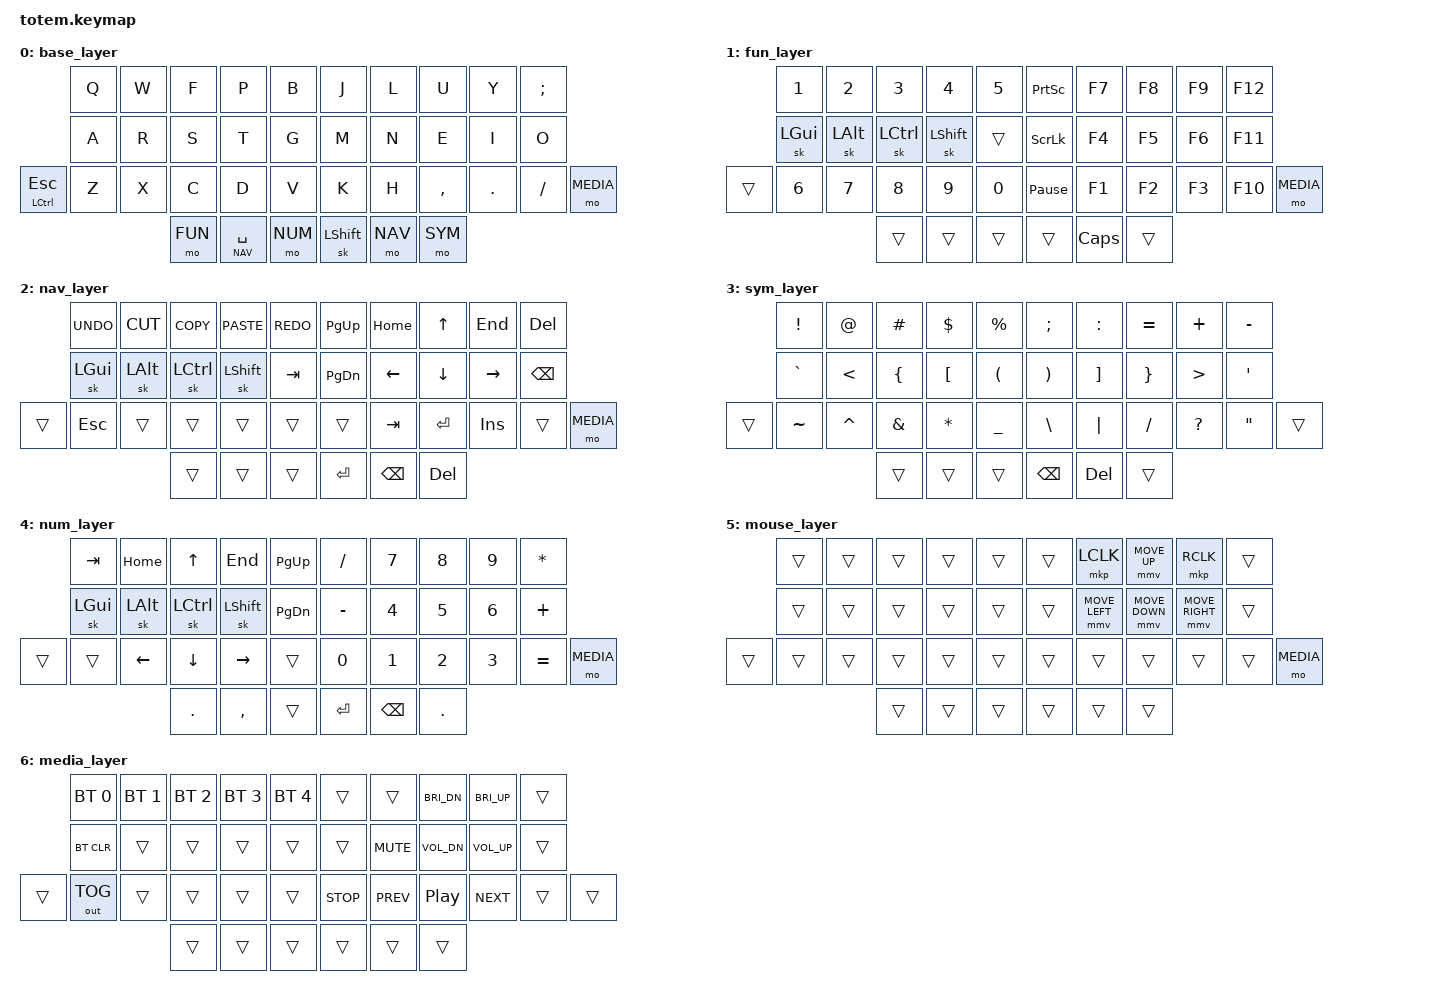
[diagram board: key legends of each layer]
/*
 * Copyright (c) 2022 The ZMK Contributors
 * SPDX-License-Identifier: MIT
 */

#include <behaviors.dtsi>
#include <dt-bindings/zmk/keys.h>
#include <dt-bindings/zmk/bt.h>
#include <dt-bindings/zmk/outputs.h>
#include <dt-bindings/zmk/mouse.h>

#define BASE  0
#define FUN   1
#define NAV   2
#define SYM   3
#define NUM   4
#define MOUSE 5
#define MEDIA 6

&mt {
    quick-tap-ms = <100>;
    global-quick-tap;
    flavor = "tap-preferred";
    tapping-term-ms = <170>;
};

/ {
    behaviors {
        // Layer-tap with quick-tap for hold-repeat (tap then hold to repeat)
        ltr: layer_tap_repeat {
            compatible = "zmk,behavior-hold-tap";
            #binding-cells = <2>;
            flavor = "tap-preferred";
            tapping-term-ms = <200>;
            quick-tap-ms = <200>;
            bindings = <&mo>, <&kp>;
        };
    };

    combos {
        compatible = "zmk,combos";
        combo_esc {
            timeout-ms = <50>;
            key-positions = <0 1>;
            bindings = <&kp ESC>;
        };
    };

    keymap {
        compatible = "zmk,keymap";

        base_layer {
// -----------------------------------------------------------------------------------------
//       |  Q  |  W  |  F  |  P  |  B  |         |  J  |  L  |  U  |  Y  |  ;  |
//       |  A  |  R  |  S  |  T  |  G  |         |  M  |  N  |  E  |  I  |  O  |
// |ESC  |  Z  |  X  |  C  |  D  |  V  |         |  K  |  H  |  ,  |  .  |  /  |MEDIA|
// |CTRL |                                                                     |     |
//                   | FUN |SPC  | NUM |         |SHIFT| NAV | SYM |
//                   |     |NAV  |     |         | (os)|     |     |
            bindings = <
            &kp Q           &kp W       &kp F       &kp P       &kp B           &kp J       &kp L       &kp U       &kp Y       &kp SEMI
            &kp A           &kp R       &kp S       &kp T       &kp G           &kp M       &kp N       &kp E       &kp I       &kp O
 &mt LCTRL ESC &kp Z        &kp X       &kp C       &kp D       &kp V           &kp K       &kp H       &kp COMMA   &kp DOT     &kp FSLH    &mo MEDIA
                                    &mo FUN     &ltr NAV SPACE &mo NUM         &sk LSHFT   &mo NAV     &mo SYM
            >;
        };

        fun_layer {
// -----------------------------------------------------------------------------------------
//       |  1  |  2  |  3  |  4  |  5  |         | PSCR|  F7 |  F8 |  F9 | F12 |
//       | GUI | ALT | CTRL| SHFT|     |         | SLCK|  F4 |  F5 |  F6 | F11 |
// |     |  6  |  7  |  8  |  9  |  0  |         | PAUS|  F1 |  F2 |  F3 | F10 |     |
//                   |     |     |     |         |     | CAPS|     |
            bindings = <
            &kp N1      &kp N2      &kp N3      &kp N4      &kp N5          &kp PSCRN   &kp F7      &kp F8      &kp F9      &kp F12
            &sk LGUI    &sk LALT    &sk LCTRL   &sk LSHFT   &trans          &kp SLCK    &kp F4      &kp F5      &kp F6      &kp F11
    &trans  &kp N6      &kp N7      &kp N8      &kp N9      &kp N0          &kp PAUSE_BREAK &kp F1  &kp F2      &kp F3      &kp F10     &mo MEDIA
                                    &trans      &trans      &trans          &trans      &kp CAPS    &trans
            >;
        };

        nav_layer {
// -----------------------------------------------------------------------------------------
//       | UNDO| CUT | COPY| PSTE| REDO|         | PGUP| HOME|  UP | END | DEL |
//       | GUI | ALT | CTRL| SHFT| TAB |         | PGDN| LEFT| DOWN| RGHT| BSPC|
// |     | ESC |     |     |     |     |         |     | TAB | ENT | INS |     |     |
//                   |     |     |     |         | ENT | BSPC| DEL |
            bindings = <
            &kp K_UNDO  &kp K_CUT   &kp K_COPY  &kp K_PASTE &kp K_REDO      &kp PG_UP   &kp HOME    &kp UP      &kp END     &kp DEL
            &sk LGUI    &sk LALT    &sk LCTRL   &sk LSHFT   &kp TAB         &kp PG_DN   &kp LEFT    &kp DOWN    &kp RIGHT   &kp BSPC
    &trans  &kp ESC     &trans      &trans      &trans      &trans          &trans      &kp TAB     &kp RET     &kp INS     &trans      &mo MEDIA
                                    &trans      &trans      &trans          &kp RET     &kp BSPC    &kp DEL
            >;
        };

        sym_layer {
// -----------------------------------------------------------------------------------------
//       |  !  |  @  |  #  |  $  |  %  |         |  ;  |  :  |  =  |  +  |  -  |
//       |  `  |  <  |  {  |  [  |  (  |         |  )  |  ]  |  }  |  >  |  '  |
// |     |  ~  |  ^  |  &  |  *  |  _  |         |  \  |  |  |  /  |  ?  |  "  |     |
//                   |     |     |     |         | BSPC| DEL |     |
            bindings = <
            &kp EXCL    &kp AT      &kp HASH    &kp DLLR    &kp PRCNT       &kp SEMI    &kp COLON   &kp EQUAL   &kp PLUS    &kp MINUS
            &kp GRAVE   &kp LT      &kp LBRC    &kp LBKT    &kp LPAR        &kp RPAR    &kp RBKT    &kp RBRC    &kp GT      &kp SQT
    &trans  &kp TILDE   &kp CARET   &kp AMPS    &kp ASTRK   &kp UNDER       &kp BSLH    &kp PIPE    &kp FSLH    &kp QMARK   &kp DQT     &trans
                                    &trans      &trans      &trans          &kp BSPC    &kp DEL     &trans
            >;
        };

        num_layer {
// -----------------------------------------------------------------------------------------
//       | TAB | HOME|  UP | END | PGUP|         |  /  |  7  |  8  |  9  |  *  |
//       | GUI | ALT | CTRL| SHFT| PGDN|         |  -  |  4  |  5  |  6  |  +  |
// |     |     | LEFT| DOWN| RGHT|     |         |  0  |  1  |  2  |  3  |  =  |     |
//                   |  .  |  ,  |     |         | ENT | BSPC|  .  |
            bindings = <
            &kp TAB     &kp HOME    &kp UP      &kp END     &kp PG_UP       &kp FSLH    &kp N7      &kp N8      &kp N9      &kp ASTRK
            &sk LGUI    &sk LALT    &sk LCTRL   &sk LSHFT   &kp PG_DN       &kp MINUS   &kp N4      &kp N5      &kp N6      &kp PLUS
    &trans  &trans      &kp LEFT    &kp DOWN    &kp RIGHT   &trans          &kp N0      &kp N1      &kp N2      &kp N3      &kp EQUAL   &mo MEDIA
                                    &kp DOT     &kp COMMA   &trans          &kp RET     &kp BSPC    &kp DOT
            >;
        };

        mouse_layer {
// -----------------------------------------------------------------------------------------
//       |     |     |     |     |     |         |     | LCLK|  UP | RCLK|     |
//       |     |     |     |     |     |         |     | LEFT| DOWN| RGHT|     |
// |     |     |     |     |     |     |         |     |     |     |     |     |     |
//                   |     |     |     |         |     |     |     |
            bindings = <
            &trans      &trans      &trans      &trans      &trans          &trans      &mkp LCLK   &mmv MOVE_UP &mkp RCLK  &trans
            &trans      &trans      &trans      &trans      &trans          &trans      &mmv MOVE_LEFT &mmv MOVE_DOWN &mmv MOVE_RIGHT &trans
    &trans  &trans      &trans      &trans      &trans      &trans          &trans      &trans      &trans      &trans      &trans      &mo MEDIA
                                    &trans      &trans      &trans          &trans      &trans      &trans
            >;
        };

        media_layer {
// -----------------------------------------------------------------------------------------
//       | BT0 | BT1 | BT2 | BT3 | BT4 |         |     |     | BRI-| BRI+|     |
//       |BTCLR|     |     |     |     |         |     | MUTE| VOL-| VOL+|     |
// |     |OUTTOG|    |     |     |     |         | STOP| PREV| PLAY| NEXT|     |     |
//                   |     |     |     |         |     |     |     |
            bindings = <
            &bt BT_SEL 0 &bt BT_SEL 1 &bt BT_SEL 2 &bt BT_SEL 3 &bt BT_SEL 4  &trans      &trans      &kp C_BRI_DN &kp C_BRI_UP &trans
            &bt BT_CLR  &trans      &trans      &trans      &trans          &trans      &kp C_MUTE  &kp C_VOL_DN &kp C_VOL_UP &trans
    &trans  &out OUT_TOG &trans     &trans      &trans      &trans          &kp C_STOP  &kp C_PREV  &kp C_PP    &kp C_NEXT  &trans      &trans
                                    &trans      &trans      &trans          &trans      &trans      &trans
            >;
        };
    };
};
